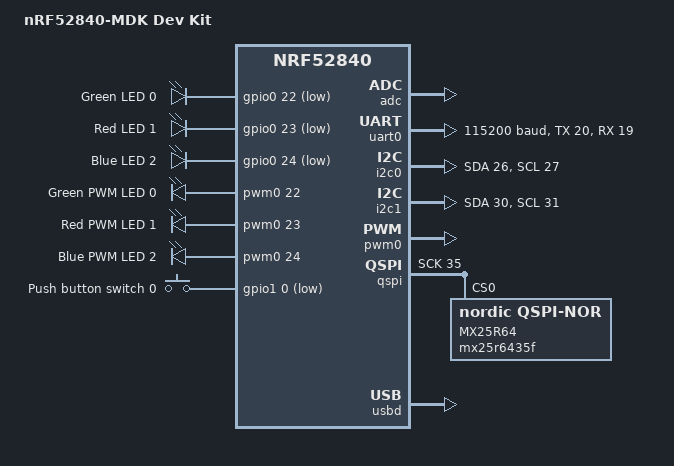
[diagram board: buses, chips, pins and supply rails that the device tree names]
/*
 * Copyright (c) 2017 Linaro Limited
 *
 * SPDX-License-Identifier: Apache-2.0
 */

/dts-v1/;
#include <nordic/nrf52840_qiaa.dtsi>

/ {
	model = "nRF52840-MDK Dev Kit";
	compatible = "nordic,pca10056-dk";

	chosen {
		zephyr,console = &uart0;
		zephyr,shell-uart = &uart0;
		zephyr,uart-mcumgr = &uart0;
		zephyr,bt-mon-uart = &uart0;
		zephyr,bt-c2h-uart = &uart0;
		zephyr,sram = &sram0;
		zephyr,flash = &flash0;
		zephyr,code-partition = &slot0_partition;
	};

	leds {
		compatible = "gpio-leds";
		led0_green: led_0 {
			gpios = <&gpio0 22 GPIO_ACTIVE_LOW>;
			label = "Green LED 0";
		};
		led1_red: led_1 {
			gpios = <&gpio0 23 GPIO_ACTIVE_LOW>;
			label = "Red LED 1";
		};
		led2_blue: led_2 {
			gpios = <&gpio0 24 GPIO_ACTIVE_LOW>;
			label = "Blue LED 2";
		};
	};

	pwmleds {
		compatible = "pwm-leds";
		pwm_led0_green: pwm_led_0 {
			pwms = <&pwm0 22>;
			label = "Green PWM LED 0";
		};
		pwm_led1_red: pwm_led_1 {
			pwms = <&pwm0 23>;
			label = "Red PWM LED 1";
		};
		pwm_led2_blue: pwm_led_2 {
			pwms = <&pwm0 24>;
			label = "Blue PWM LED 2";
		};
	};

	buttons {
		compatible = "gpio-keys";
		button0: button_0 {
			gpios = <&gpio1 0 (GPIO_PULL_UP | GPIO_ACTIVE_LOW)>;
			label = "Push button switch 0";
		};
	};

	/* These aliases are provided for compatibility with samples */
	aliases {
		sw0 = &button0;
		led0 = &led0_green;
		led1 = &led1_red;
		led2 = &led2_blue;
		led0-green = &led0_green;
		led1-red   = &led1_red;
		led1-blue  = &led2_blue;
		pwm-led0 = &pwm_led0_green;
		pwm-led1 = &pwm_led1_red;
		pwm-led2 = &pwm_led2_blue;
		green-pwm-led = &pwm_led0_green;
		red-pwm-led = &pwm_led1_red;
		blue-pwm-led = &pwm_led2_blue;
	};
};

&adc {
	status = "okay";
};

&gpiote {
	status = "okay";
};

&gpio0 {
	status = "okay";
};

&gpio1 {
	status = "okay";
};

&uart0 {
	compatible = "nordic,nrf-uart";
	current-speed = <115200>;
	status = "okay";
	tx-pin = <20>;
	rx-pin = <19>;
	rts-pin = <5>;
	cts-pin = <7>;
};

&i2c0 {
	compatible = "nordic,nrf-twi";
	status = "okay";
	sda-pin = <26>;
	scl-pin = <27>;
};

&i2c1 {
	compatible = "nordic,nrf-twi";
	status = "okay";
	sda-pin = <30>;
	scl-pin = <31>;
};

&pwm0 {
	status = "okay";
	ch0-pin = <22>;
	ch0-inverted;
	ch1-pin = <23>;
	ch1-inverted;
	ch2-pin = <24>;
	ch2-inverted;
};

&qspi {
	status = "okay";
	sck-pin = <35>;
	io-pins = <37>, <36>, <34>, <33>;
	csn-pins = <38>;
	mx25r64: mx25r6435f@0 {
		compatible = "nordic,qspi-nor";
		reg = <0>;
		writeoc = "pp4io";
		readoc = "read4io";
		sck-frequency = <8000000>;
		label = "MX25R64";
		jedec-id = [c2 28 17];
		sfdp-bfp = [
			e5 20 f1 ff  ff ff ff 03  44 eb 08 6b  08 3b 04 bb
			ee ff ff ff  ff ff 00 ff  ff ff 00 ff  0c 20 0f 52
			10 d8 00 ff  23 72 f5 00  82 ed 04 cc  44 83 68 44
			30 b0 30 b0  f7 c4 d5 5c  00 be 29 ff  f0 d0 ff ff
		];
		size = <67108864>;
		has-dpd;
		t-enter-dpd = <10000>;
		t-exit-dpd = <35000>;
	};
};

&flash0 {

	partitions {
		compatible = "fixed-partitions";
		#address-cells = <1>;
		#size-cells = <1>;

		boot_partition: partition@0 {
			label = "mcuboot";
			reg = <0x000000000 0x0000C000>;
		};
		slot0_partition: partition@c000 {
			label = "image-0";
			reg = <0x0000C000 0x00067000>;
		};
		slot1_partition: partition@73000 {
			label = "image-1";
			reg = <0x00073000 0x00067000>;
		};
		scratch_partition: partition@da000 {
			label = "image-scratch";
			reg = <0x000da000 0x0001e000>;
		};

		/*
		 * The flash starting at 0x000f8000 and ending at
		 * 0x000fffff is reserved for use by the application.
		 */

		/*
		 * Storage partition will be used by FCB/LittleFS/NVS
		 * if enabled.
		 */
		storage_partition: partition@f8000 {
			label = "storage";
			reg = <0x000f8000 0x00008000>;
		};
	};
};

&usbd {
	compatible = "nordic,nrf-usbd";
	status = "okay";
};
